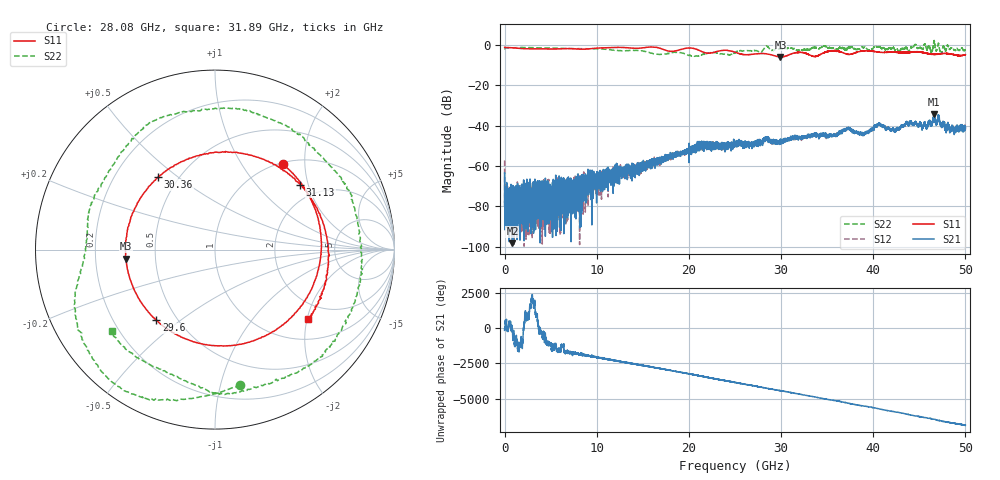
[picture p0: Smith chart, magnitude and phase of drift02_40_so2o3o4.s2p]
!Created with skrf (http://scikit-rf.org).
# Hz S RI R 50.0
!freq ReS11 ImS11 ReS21 ImS21 ReS12 ImS12 ReS22 ImS22
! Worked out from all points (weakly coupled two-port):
!   10001 points, 300 kHz to 50 GHz, reference 50 ohm
!   highest |S21| = -34.30 dB at 46.6 GHz (marker M1); lowest = -98.4 dB at 845.3 MHz (marker M2)
!   lowest |S11| = -6.1 dB at 29.93 GHz (marker M3), VSWR 2.98, Z = 16.8 - j2.29 ohm
!   |S11| at or under -10 dB: nowhere
!   |S22| runs from -5.7 to 2.2 dB; largest |S21 - S12| = 0.0028
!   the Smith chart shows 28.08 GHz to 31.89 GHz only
!   S11 on the Smith chart (normalised r, x): 28.08 GHz: 1.03, +1.55; 29.6 GHz: 0.39, -0.41; 30.36 GHz: 0.39, +0.43; 31.13 GHz: 1.58, +1.78; 31.89 GHz: 1.51, -2.04
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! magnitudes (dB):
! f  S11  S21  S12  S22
! 300 kHz  -1.3  -63.5  -57.3  -2.1
! 255.3 MHz  -1.4  -81.8  -81.5  -1.4
! 845.3 MHz  -1.5  -98.4  -77.5  -1.5
! 6.145 GHz  -2.0  -69.4  -71.4  -1.8
! 8.335 GHz  -2.2  -71.1  -67.3  -1.9
! 16.67 GHz  -1.5  -57.8  -57.0  -4.7
! 21.56 GHz  -3.7  -50.8  -50.8  -4.7
! 25 GHz  -3.7  -48.5  -48.2  -3.9
! 28.08 GHz  -4.3  -46.4  -48.8  -2.3
! 29.6 GHz  -5.8  -48.1  -47.9  -2.1
! 29.93 GHz  -6.1  -49.2  -48.5  -2.1
! 30.36 GHz  -5.8  -46.9  -46.6  -1.9
! 31.13 GHz  -4.5  -46.6  -46.0  -1.6
! 31.89 GHz  -3.7  -46.4  -45.6  -2.7
! 33.34 GHz  -5.5  -44.9  -44.6  -1.5
! 37.28 GHz  -4.7  -40.9  -41.4  -1.3
! 38.93 GHz  -3.0  -44.5  -44.5  -1.5
! 40.59 GHz  -3.6  -38.9  -39.2  -1.0
! 41.67 GHz  -3.6  -41.1  -41.2  -1.9
! 46.6 GHz  -4.6  -34.3  -34.6  2.0
! 48.53 GHz  -4.7  -40.9  -40.8  -1.6
! 50 GHz  -4.9  -40.8  -40.0  -2.7
